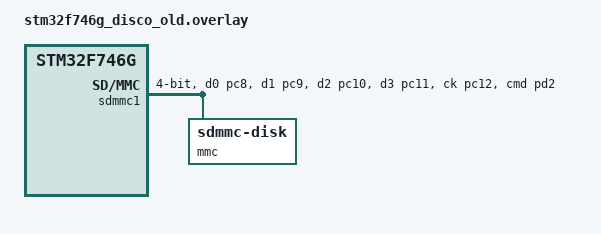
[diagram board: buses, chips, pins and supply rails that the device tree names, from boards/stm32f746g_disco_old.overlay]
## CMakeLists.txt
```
cmake_minimum_required(VERSION 3.20.0)

find_package(Zephyr REQUIRED HINTS $ENV{ZEPHYR_BASE})
project(lvgl_fs_button)

target_sources(app PRIVATE src/main.c)
```

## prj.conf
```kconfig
CONFIG_ASSERT=y
CONFIG_LOG=y
CONFIG_LOG_DEFAULT_LEVEL=3
CONFIG_PRINTK=y



# --- SD card + filesystem (FAT) ---

CONFIG_DISK_ACCESS=y
CONFIG_FILE_SYSTEM=y
CONFIG_FAT_FILESYSTEM_ELM=y
CONFIG_FS_FATFS_MOUNT_MKFS=y


CONFIG_DISK_DRIVERS=y
CONFIG_DISK_DRIVER_SDMMC=y
CONFIG_SDMMC_STM32=y





CONFIG_MAIN_STACK_SIZE=4096
#32768
CONFIG_SYSTEM_WORKQUEUE_STACK_SIZE=4096
#32768

CONFIG_HEAP_MEM_POOL_SIZE=8192

CONFIG_DISPLAY=y
CONFIG_DISPLAY_LOG_LEVEL_ERR=y

CONFIG_LVGL=y
CONFIG_LV_Z_MEM_POOL_SIZE=65536
   #/98304

CONFIG_LV_Z_BITS_PER_PIXEL=16

CONFIG_LV_COLOR_DEPTH_16=y
CONFIG_LV_COLOR_16_SWAP=n

CONFIG_LV_USE_LOG=y
CONFIG_LV_USE_LABEL=y
CONFIG_LV_USE_BUTTON=y
CONFIG_LV_USE_THEME_DEFAULT=y
CONFIG_LV_THEME_DEFAULT_DARK=y
CONFIG_LV_FONT_MONTSERRAT_20=y

CONFIG_LV_USE_BAR=y
CONFIG_LV_USE_SLIDER=y
CONFIG_LV_USE_DROPDOWN=y
CONFIG_LV_USE_FLEX=y
#CONFIG_L_USE_GRID=y 


CONFIG_LV_USE_ASSERT_NULL=y
CONFIG_LV_USE_ASSERT_OBJ=y
CONFIG_LV_USE_ASSERT_STYLE=y

#LV_Z_DOUBLE_VDB=y
#CONFIG_LVGL_DISP_DEF_REFR_PERIOD=50

CONFIG_LV_Z_VDB_SIZE=20

CONFIG_SDMMC_STM32_CLOCK_CHECK=n

CONFIG_DISK_DRIVERS=y
CONFIG_DISK_DRIVER_SDMMC=y
CONFIG_SDMMC_STM32=y


CONFIG_SDMMC_SUBSYS=y

CONFIG_SDMMC_LOG_LEVEL_DBG=y
CONFIG_DISK_LOG_LEVEL_DBG=y
CONFIG_FS_LOG_LEVEL_DBG=y
```

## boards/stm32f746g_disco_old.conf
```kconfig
# Match the STM32F746G Discovery DSI panel and LTDC defaults (RGB565, no byte swap).
CONFIG_LV_COLOR_DEPTH_32=n
CONFIG_LV_COLOR_DEPTH_16=y
CONFIG_LV_COLOR_16_SWAP=n
```

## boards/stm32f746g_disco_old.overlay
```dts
&sdmmc1 {
    status = "okay";

    pinctrl-0 = <&sdmmc1_d0_pc8  &sdmmc1_d1_pc9
                 &sdmmc1_d2_pc10 &sdmmc1_d3_pc11
                 &sdmmc1_ck_pc12 &sdmmc1_cmd_pd2>;
    pinctrl-names = "default";

    bus-width = <4>;



    mmc {
        compatible = "zephyr,sdmmc-disk";
        status = "okay";

        disk-name = "SD";
    };
};

&dma2 {
    status = "okay";
};
```

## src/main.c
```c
#include <zephyr/kernel.h>
#include <zephyr/device.h>
#include <zephyr/devicetree.h>
#include <zephyr/drivers/display.h>
#include <zephyr/fs/fs.h>
#include <zephyr/storage/disk_access.h>
#include <zephyr/logging/log.h>

#include <lvgl.h>

#if defined(CONFIG_FAT_FILESYSTEM_ELM)
#include <ff.h>
#endif

#include <stdio.h>

LOG_MODULE_REGISTER(main);

#define DISK_DRIVE_NAME "SD"
#define DISK_MOUNT_PT   "/" DISK_DRIVE_NAME ":"

#define TEST_FILE_NAME  "test.txt"
#define READ_BUF_SIZE   128

static const char *disk_mount_pt = DISK_MOUNT_PT;

#if defined(CONFIG_FAT_FILESYSTEM_ELM)
static FATFS fat_fs;
#endif

static struct fs_mount_t fs_mnt = {
#if defined(CONFIG_FAT_FILESYSTEM_ELM)
    .type = FS_FATFS,
    .fs_data = &fat_fs,
#else
#   error "This sample expects CONFIG_FAT_FILESYSTEM_ELM=y"
#endif
    .mnt_point   = DISK_MOUNT_PT,
    .storage_dev = (void *)DISK_DRIVE_NAME,
};

static const struct device *display_dev;
static lv_obj_t *status_label;
static bool fs_ready = false;

static void set_status(const char *txt)
{
    if (status_label) {
        lv_label_set_text(status_label, txt);
    }
    LOG_INF("%s", txt);
}

static int mount_sd(void)
{
    int res;

    if (fs_ready) {
        return 0;
    }

    LOG_INF("Mounting SD card on %s (disk \"%s\")", disk_mount_pt, DISK_DRIVE_NAME);

    uint32_t block_count;
    uint32_t block_size;

    if (disk_access_ioctl(DISK_DRIVE_NAME, DISK_IOCTL_CTRL_INIT, NULL) != 0) {
        LOG_ERR("disk init failed");
        set_status("Błąd inicjalizacji SD");
        return -EIO;
    }

    if (disk_access_ioctl(DISK_DRIVE_NAME, DISK_IOCTL_GET_SECTOR_COUNT, &block_count) == 0 &&
        disk_access_ioctl(DISK_DRIVE_NAME, DISK_IOCTL_GET_SECTOR_SIZE, &block_size) == 0) {
        uint64_t size_mb = ((uint64_t)block_count * block_size) >> 20;
        LOG_INF("SD size: %u MB", (uint32_t)size_mb);
    }

    res = fs_mount(&fs_mnt);
    if (res != 0) {
        LOG_ERR("fs_mount failed: %d", res);
        set_status("Nie mogę zamontować SD");
        return res;
    }

    fs_ready = true;
    set_status("SD zamontowana");
    return 0;
}

static void read_test_file(void)
{
    int ret;
    struct fs_file_t file;
    char path[64];
    char buf[READ_BUF_SIZE];
    int read_bytes;

    if (!fs_ready) {
        ret = mount_sd();
        if (ret != 0) {
            return;
        }
    }

    fs_file_t_init(&file);

    snprintf(path, sizeof(path), "%s/%s", disk_mount_pt, TEST_FILE_NAME);

    LOG_INF("Opening file: %s", path);

    ret = fs_open(&file, path, FS_O_READ);
    if (ret < 0) {
        LOG_ERR("fs_open(%s) failed: %d", path, ret);
        set_status("Nie mogę otworzyć test.txt");
        return;
    }

    read_bytes = fs_read(&file, buf, sizeof(buf) - 1);
    if (read_bytes < 0) {
        LOG_ERR("fs_read failed: %d", read_bytes);
        set_status("Błąd odczytu test.txt");
        fs_close(&file);
        return;
    }

    buf[read_bytes] = '\0';

    //LOG_INF("Read %d bytes: %s", read_bytes, log_strdup(buf));

    lv_label_set_text(status_label, buf);

    fs_close(&file);
}

static void btn_event_cb(lv_event_t *e)
{
    lv_event_code_t code = lv_event_get_code(e);

    if (code == LV_EVENT_CLICKED) {
        read_test_file();
    }
}

static void create_gui(void)
{

    lv_obj_t *scr = lv_scr_act();


    status_label = lv_label_create(scr);
    lv_label_set_text(status_label, "Czekam na kliknięcie...");
    lv_obj_align(status_label, LV_ALIGN_TOP_MID, 0, 10);


    lv_obj_t *btn = lv_btn_create(scr);
    lv_obj_set_size(btn, 200, 60);
    lv_obj_center(btn);
    lv_obj_add_event_cb(btn, btn_event_cb, LV_EVENT_ALL, NULL);

    lv_obj_t *label = lv_label_create(btn);
    lv_label_set_text(label, "Otwórz test.txt");
    lv_obj_center(label);
}

int main(void)
{
    LOG_INF("LVGL + SD test.txt sample start");

    display_dev = DEVICE_DT_GET(DT_CHOSEN(zephyr_display));
    if (!device_is_ready(display_dev)) {
        LOG_ERR("Display device not ready");
        return 0;
    }

    display_blanking_off(display_dev);

    create_gui();

    while (1) {
        lv_timer_handler();
        k_sleep(K_MSEC(20));
    }

    return 0;
}
```
